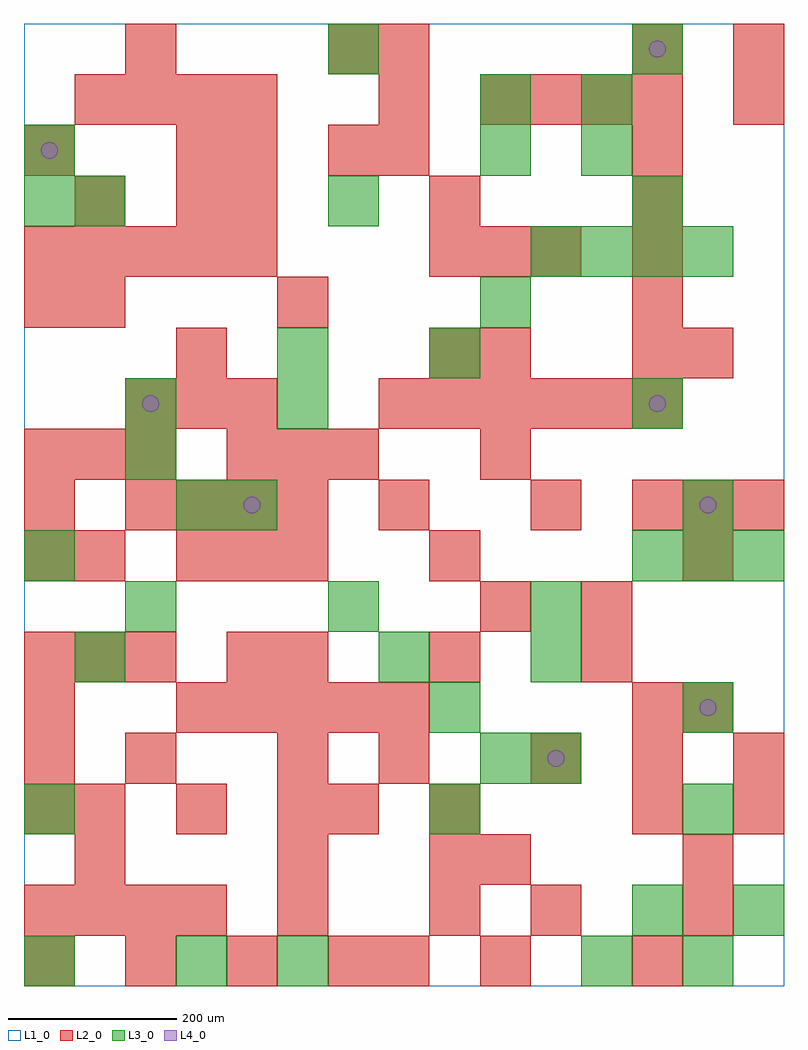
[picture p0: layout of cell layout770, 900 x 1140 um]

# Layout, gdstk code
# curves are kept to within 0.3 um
import gdstk
lib = gdstk.Library(unit=1e-6, precision=1e-09)
def R(c, l, rs):  # rectangles x0, y0, x1, y1
    for r in rs: c.add(gdstk.rectangle(r[:2], r[2:], *l))
def A(c, l, x, y, w, h, nx, ny, dx, dy):  # array of equal rectangles
    R(c, l, [(x+i*dx, y+j*dy, x+i*dx+w, y+j*dy+h) for i in range(nx) for j in range(ny)])
def P(c, l, *ps):  # polygons
    for p in ps: c.add(gdstk.Polygon(p, *l))
L1_0 = (1, 0)
L2_0 = (2, 0)
L3_0 = (3, 0)
L4_0 = (4, 0)

layout770 = lib.new_cell('layout770')
R(layout770, L1_0, [(0,0,900,1140)])
A(layout770, L2_0, 0, 0, 60, 60, 4, 1, 120, 0)
A(layout770, L2_0, 0, 60, 60, 60, 4, 1, 60, 0)
A(layout770, L2_0, 480, 60, 60, 60, 1, 3, 0, 60)
A(layout770, L2_0, 780, 120, 60, 60, 1, 3, 0, 180)
A(layout770, L2_0, 0, 180, 60, 60, 1, 3, 0, 60)
A(layout770, L2_0, 60, 180, 60, 60, 3, 1, 120, 0)
A(layout770, L2_0, 600, 240, 60, 60, 3, 1, 120, 0)
A(layout770, L2_0, 180, 300, 60, 60, 5, 1, 60, 0)
A(layout770, L2_0, 0, 360, 60, 60, 3, 2, 60, 240)
A(layout770, L2_0, 300, 360, 60, 60, 3, 1, 180, 0)
A(layout770, L2_0, 180, 480, 60, 60, 3, 1, 60, 0)
A(layout770, L2_0, 120, 540, 60, 60, 4, 1, 60, 0)
A(layout770, L2_0, 720, 540, 60, 60, 3, 1, 60, 0)
A(layout770, L2_0, 240, 600, 60, 60, 3, 1, 60, 0)
A(layout770, L2_0, 120, 660, 60, 60, 3, 1, 60, 0)
A(layout770, L2_0, 420, 660, 60, 60, 6, 1, 60, 0)
A(layout770, L2_0, 720, 720, 60, 60, 1, 3, 0, 60)
A(layout770, L2_0, 0, 840, 60, 60, 5, 1, 60, 0)
A(layout770, L2_0, 480, 840, 60, 60, 3, 1, 60, 0)
A(layout770, L2_0, 240, 900, 60, 60, 3, 1, 240, 0)
A(layout770, L2_0, 420, 960, 60, 60, 1, 3, 0, 60)
A(layout770, L2_0, 60, 1020, 60, 60, 4, 1, 60, 0)
A(layout770, L2_0, 540, 1020, 60, 60, 4, 1, 60, 0)
R(layout770, L2_0, [(420,0,480,60), (540,0,600,60), (720,0,780,60), (300,60,360,120), (600,60,660,120), (780,60,840,120), (60,120,120,180), (300,120,360,180), (540,120,600,180), (360,180,420,240), (720,180,780,240), (840,180,900,240), (120,240,180,300), (300,240,360,300), (420,240,480,300), (720,300,780,360), (240,360,300,420), (540,420,600,480), (660,420,720,480), (0,480,60,540), (60,480,120,540), (480,480,540,540), (0,540,60,600), (420,540,480,600), (600,540,660,600), (540,600,600,660), (180,720,240,780), (480,720,540,780), (540,720,600,780), (780,720,840,780), (0,780,60,840), (60,780,120,840), (300,780,360,840), (60,900,120,960), (180,900,240,960), (0,960,60,1020), (180,960,240,1020), (240,960,300,1020), (360,960,420,1020), (720,960,780,1020), (840,1020,900,1080), (120,1080,180,1140), (360,1080,420,1140), (720,1080,780,1140), (840,1080,900,1140)])
A(layout770, L3_0, 120, 420, 60, 60, 3, 1, 240, 0)
A(layout770, L3_0, 720, 480, 60, 60, 3, 1, 60, 0)
A(layout770, L3_0, 600, 840, 60, 60, 4, 1, 60, 0)
R(layout770, L3_0, [(0,0,60,60), (180,0,240,60), (300,0,360,60), (660,0,720,60), (780,0,840,60), (720,60,780,120), (840,60,900,120), (0,180,60,240), (480,180,540,240), (780,180,840,240), (540,240,600,300), (600,240,660,300), (480,300,540,360), (780,300,840,360), (60,360,120,420), (420,360,480,420), (600,360,660,420), (0,480,60,540), (180,540,240,600), (240,540,300,600), (780,540,840,600), (120,600,180,660), (120,660,180,720), (300,660,360,720), (720,660,780,720), (300,720,360,780), (480,720,540,780), (540,780,600,840), (0,900,60,960), (60,900,120,960), (360,900,420,960), (720,900,780,960), (0,960,60,1020), (540,960,600,1020), (660,960,720,1020), (540,1020,600,1080), (660,1020,720,1080), (360,1080,420,1140), (720,1080,780,1140)])
P(layout770, L4_0, [(40,990),(39.239,993.827),(37.071,997.071),(33.827,999.239),(30,1000),(26.173,999.239),(22.929,997.071),(20.761,993.827),(20,990),(20.761,986.173),(22.929,982.929),(26.173,980.761),(30,980),(33.827,980.761),(37.071,982.929),(39.239,986.173)],
  [(160,690),(159.239,693.827),(157.071,697.071),(153.827,699.239),(150,700),(146.173,699.239),(142.929,697.071),(140.761,693.827),(140,690),(140.761,686.173),(142.929,682.929),(146.173,680.761),(150,680),(153.827,680.761),(157.071,682.929),(159.239,686.173)],
  [(280,570),(279.239,573.827),(277.071,577.071),(273.827,579.239),(270,580),(266.173,579.239),(262.929,577.071),(260.761,573.827),(260,570),(260.761,566.173),(262.929,562.929),(266.173,560.761),(270,560),(273.827,560.761),(277.071,562.929),(279.239,566.173)],
  [(640,270),(639.239,273.827),(637.071,277.071),(633.827,279.239),(630,280),(626.173,279.239),(622.929,277.071),(620.761,273.827),(620,270),(620.761,266.173),(622.929,262.929),(626.173,260.761),(630,260),(633.827,260.761),(637.071,262.929),(639.239,266.173)],
  [(760,690),(759.239,693.827),(757.071,697.071),(753.827,699.239),(750,700),(746.173,699.239),(742.929,697.071),(740.761,693.827),(740,690),(740.761,686.173),(742.929,682.929),(746.173,680.761),(750,680),(753.827,680.761),(757.071,682.929),(759.239,686.173)],
  [(760,1110),(759.239,1113.827),(757.071,1117.071),(753.827,1119.239),(750,1120),(746.173,1119.239),(742.929,1117.071),(740.761,1113.827),(740,1110),(740.761,1106.173),(742.929,1102.929),(746.173,1100.761),(750,1100),(753.827,1100.761),(757.071,1102.929),(759.239,1106.173)],
  [(820,330),(819.239,333.827),(817.071,337.071),(813.827,339.239),(810,340),(806.173,339.239),(802.929,337.071),(800.761,333.827),(800,330),(800.761,326.173),(802.929,322.929),(806.173,320.761),(810,320),(813.827,320.761),(817.071,322.929),(819.239,326.173)],
  [(820,570),(819.239,573.827),(817.071,577.071),(813.827,579.239),(810,580),(806.173,579.239),(802.929,577.071),(800.761,573.827),(800,570),(800.761,566.173),(802.929,562.929),(806.173,560.761),(810,560),(813.827,560.761),(817.071,562.929),(819.239,566.173)])

lib.write_gds('layout770.gds')
